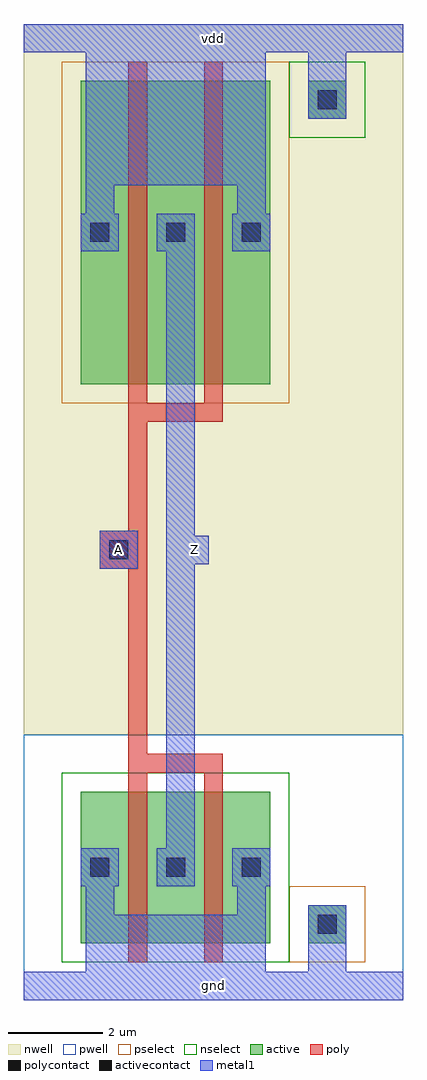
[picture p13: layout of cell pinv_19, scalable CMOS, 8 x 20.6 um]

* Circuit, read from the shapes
.subckt pinv_19 A Z gnd vdd
M1 Z A gnd gnd nfet w=3.2u l=0.4u m=2
M2 Z A vdd vdd pfet w=6.4u l=0.4u m=2
.ends

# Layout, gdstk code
import gdstk
lib = gdstk.Library(unit=1e-6, precision=1e-09)
def R(c, l, rs):  # rectangles x0, y0, x1, y1
    for r in rs: c.add(gdstk.rectangle(r[:2], r[2:], *l))
pwell = (41, 0)
nwell = (42, 0)
active = (43, 0)
pselect = (44, 0)
nselect = (45, 0)
poly = (46, 0)
polycontact = (47, 0)
activecontact = (48, 0)
metal1 = (49, 0)

active_contact_metal1_1x = lib.new_cell('active_contact_metal1_1x1_pn')
R(active_contact_metal1_1x, nwell, [(-1.2,-1.2,2,2)])
R(active_contact_metal1_1x, active, [(0,0,0.8,0.8)])
R(active_contact_metal1_1x, pselect, [(-0.4,-0.4,1.2,1.2)])
R(active_contact_metal1_1x, activecontact, [(0.2,0.2,0.6,0.6)])
R(active_contact_metal1_1x, metal1, [(0,0,0.8,0.8)])

pmos_m2_w6_4_a_p = lib.new_cell('pmos_m2_w6_4_a_p')
R(pmos_m2_w6_4_a_p, nwell, [(-1.2,-1.2,5.2,7.6)])
R(pmos_m2_w6_4_a_p, active, [(0,0,4,6.4)])
R(pmos_m2_w6_4_a_p, pselect, [(-0.4,-0.4,4.4,6.8)])
R(pmos_m2_w6_4_a_p, poly, [(1,-0.8,3,-0.4), (1,-0.4,1.4,6.8), (2.6,-0.4,3,6.8)])
R(pmos_m2_w6_4_a_p, metal1, [(1.6,2.8,2.4,3.6), (0.1,3.2,0.7,4.5), (3.3,3.2,3.9,4.5), (0.1,4.2,3.9,4.8)])
pmos_m2_w6_4_a_p.add(gdstk.Reference(active_contact_metal1_1x, (0,2.8)))
pmos_m2_w6_4_a_p.add(gdstk.Reference(active_contact_metal1_1x, (3.2,2.8)))
pmos_m2_w6_4_a_p.add(gdstk.Reference(active_contact_metal1_1x, (1.6,2.8)))
pmos_m2_w6_4_a_p.add(gdstk.Label('G', (2,-0.6), layer=46, texttype=0))
pmos_m2_w6_4_a_p.add(gdstk.Label('S', (2,4.5), layer=49, texttype=0))
pmos_m2_w6_4_a_p.add(gdstk.Label('D', (2,3.2), layer=49, texttype=0))

c_active_contact_metal1_1x = lib.new_cell('active_contact_metal1_1x1_np')
R(c_active_contact_metal1_1x, pwell, [(-1.2,-1.2,2,2)])
R(c_active_contact_metal1_1x, active, [(0,0,0.8,0.8)])
R(c_active_contact_metal1_1x, nselect, [(-0.4,-0.4,1.2,1.2)])
R(c_active_contact_metal1_1x, activecontact, [(0.2,0.2,0.6,0.6)])
R(c_active_contact_metal1_1x, metal1, [(0,0,0.8,0.8)])

nmos_m2_w3_2_a_p = lib.new_cell('nmos_m2_w3_2_a_p')
R(nmos_m2_w3_2_a_p, pwell, [(-1.2,-1.2,5.2,4.4)])
R(nmos_m2_w3_2_a_p, active, [(0,0,4,3.2)])
R(nmos_m2_w3_2_a_p, nselect, [(-0.4,-0.4,4.4,3.6)])
R(nmos_m2_w3_2_a_p, poly, [(1,-0.4,1.4,3.6), (2.6,-0.4,3,3.6), (1,3.6,3,4)])
R(nmos_m2_w3_2_a_p, metal1, [(0.1,0,3.9,0.6), (0.1,0.3,0.7,1.6), (3.3,0.3,3.9,1.6), (1.6,1.2,2.4,2)])
nmos_m2_w3_2_a_p.add(gdstk.Reference(c_active_contact_metal1_1x, (0,1.2)))
nmos_m2_w3_2_a_p.add(gdstk.Reference(c_active_contact_metal1_1x, (3.2,1.2)))
nmos_m2_w3_2_a_p.add(gdstk.Reference(c_active_contact_metal1_1x, (1.6,1.2)))
nmos_m2_w3_2_a_p.add(gdstk.Label('G', (2,3.8), layer=46, texttype=0))
nmos_m2_w3_2_a_p.add(gdstk.Label('S', (2,0.3), layer=49, texttype=0))
nmos_m2_w3_2_a_p.add(gdstk.Label('D', (2,1.6), layer=49, texttype=0))

c_active_contact_metal1_1x_ = lib.new_cell('active_contact_metal1_1x1_nn')
R(c_active_contact_metal1_1x_, nwell, [(-1.2,-1.2,2,2)])
R(c_active_contact_metal1_1x_, active, [(0,0,0.8,0.8)])
R(c_active_contact_metal1_1x_, nselect, [(-0.4,-0.4,1.2,1.2)])
R(c_active_contact_metal1_1x_, activecontact, [(0.2,0.2,0.6,0.6)])
R(c_active_contact_metal1_1x_, metal1, [(0,0,0.8,0.8)])

c_active_contact_metal1_1x__ = lib.new_cell('active_contact_metal1_1x1_pp')
R(c_active_contact_metal1_1x__, pwell, [(-1.2,-1.2,2,2)])
R(c_active_contact_metal1_1x__, active, [(0,0,0.8,0.8)])
R(c_active_contact_metal1_1x__, pselect, [(-0.4,-0.4,1.2,1.2)])
R(c_active_contact_metal1_1x__, activecontact, [(0.2,0.2,0.6,0.6)])
R(c_active_contact_metal1_1x__, metal1, [(0,0,0.8,0.8)])

poly_contact_metal1_1x1 = lib.new_cell('poly_contact_metal1_1x1')
R(poly_contact_metal1_1x1, poly, [(0,0,0.8,0.8)])
R(poly_contact_metal1_1x1, polycontact, [(0.2,0.2,0.6,0.6)])
R(poly_contact_metal1_1x1, metal1, [(0,0,0.8,0.8)])

pinv_19 = lib.new_cell('pinv_19')
R(pinv_19, pwell, [(0,-0.3,8,5.3)])
R(pinv_19, nwell, [(0,5.3,8,20.3)])
R(pinv_19, poly, [(2.2,4.5,2.6,11.9), (2,8.8,2.2,9.6)])
R(pinv_19, metal1, [(0,-0.3,8,0.3), (1.3,-0.3,5.1,0.9), (6,0,6.8,1.3), (3,2.1,3.6,15.5), (1.6,8.8,2.4,9.6), (3.3,8.9,3.9,9.5), (1.3,16.9,5.1,20.3), (6,18.7,6.8,20), (0,19.7,8,20.3)])
pinv_19.add(gdstk.Reference(pmos_m2_w6_4_a_p, (1.2,12.7)))
pinv_19.add(gdstk.Reference(nmos_m2_w3_2_a_p, (1.2,0.9)))
pinv_19.add(gdstk.Reference(c_active_contact_metal1_1x_, (6,18.3)))
pinv_19.add(gdstk.Reference(c_active_contact_metal1_1x__, (6,0.9)))
pinv_19.add(gdstk.Reference(poly_contact_metal1_1x1, (1.6,8.8)))
pinv_19.add(gdstk.Label('gnd', (4,0), layer=49, texttype=0))
pinv_19.add(gdstk.Label('vdd', (4,20), layer=49, texttype=0))
pinv_19.add(gdstk.Label('A', (2,9.2), layer=49, texttype=0))
pinv_19.add(gdstk.Label('Z', (3.6,9.2), layer=49, texttype=0))

lib.write_gds('pinv_19.gds')
